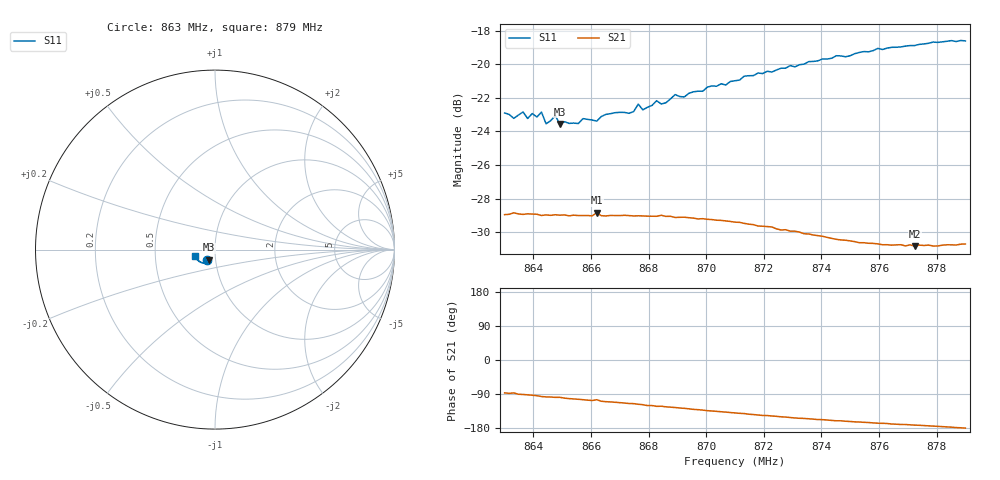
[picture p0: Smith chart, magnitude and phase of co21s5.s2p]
# HZ S RI R 50
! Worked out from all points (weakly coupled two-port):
!   101 points, 863 MHz to 879 MHz, reference 50 ohm
!   highest |S21| = -28.84 dB at 866.2 MHz (marker M1); lowest = -30.8 dB at 877.24 MHz (marker M2)
!   lowest |S11| = -23.6 dB at 864.92 MHz (marker M3), VSWR 1.14, Z = 46.3 - j5.21 ohm
!   |S11| at or under -10 dB: start of sweep to end of sweep
!   S12 and S22 are empty: the file has one direction only
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8.63e8  -0.0446 -0.0561  0.00198 -0.0356  0 0  0 0
8.6332e8  -0.0415 -0.0551  0.00204 -0.0361  0 0  0 0
8.6364e8  -0.046 -0.0556  -0.000614 -0.0357  0 0  0 0
8.638e8  -0.0408 -0.0556  -0.00122 -0.0359  0 0  0 0
8.6428e8  -0.0426 -0.0581  -0.00396 -0.0352  0 0  0 0
8.6444e8  -0.0383 -0.0544  -0.00456 -0.0353  0 0  0 0
8.6476e8  -0.0405 -0.0574  -0.00533 -0.0352  0 0  0 0
8.6492e8  -0.0356 -0.0561  -0.00524 -0.0352  0 0  0 0
8.6572e8  -0.0358 -0.0589  -0.00901 -0.0343  0 0  0 0
8.662e8  -0.0327 -0.0593  -0.00924 -0.0349  0 0  0 0
8.6748e8  -0.0328 -0.0645  -0.015 -0.032  0 0  0 0
8.6764e8  -0.0385 -0.0657  -0.016 -0.0316  0 0  0 0
8.678e8  -0.0356 -0.0639  -0.0166 -0.0312  0 0  0 0
8.6828e8  -0.0382 -0.0679  -0.0188 -0.0298  0 0  0 0
8.6844e8  -0.0372 -0.0665  -0.0188 -0.0301  0 0  0 0
8.6892e8  -0.0414 -0.0699  -0.0203 -0.0285  0 0  0 0
8.6924e8  -0.0384 -0.0701  -0.0214 -0.0278  0 0  0 0
8.71e8  -0.0498 -0.0742  -0.0258 -0.0219  0 0  0 0
8.7372e8  -0.0696 -0.0745  -0.0284 -0.0126  0 0  0 0
8.7644e8  -0.0945 -0.0607  -0.0284 -0.00553  0 0  0 0
8.7724e8  -0.1 -0.0541  -0.0285 -0.00406  0 0  0 0
8.79e8  -0.1116 -0.0365  -0.0292 -0.000119  0 0  0 0
